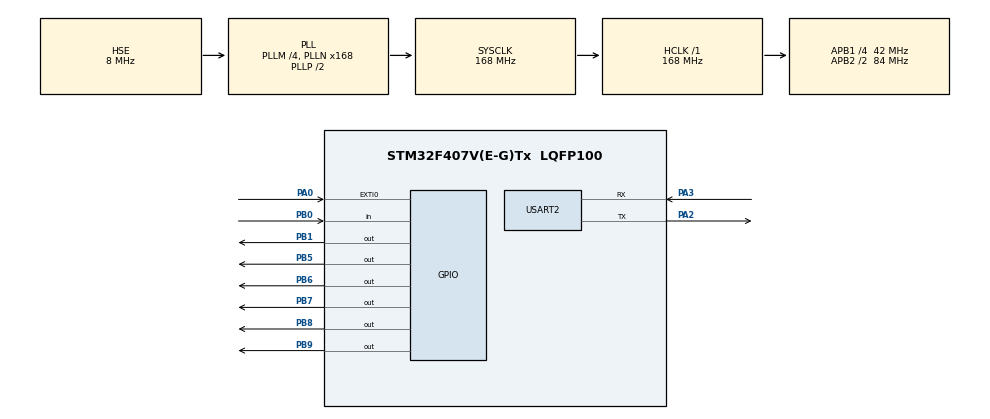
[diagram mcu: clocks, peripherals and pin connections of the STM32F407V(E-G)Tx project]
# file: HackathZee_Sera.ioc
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Mcu.Family=STM32F4
Mcu.Name=STM32F407V(E-G)Tx
Mcu.Package=LQFP100
NVIC.EXTI0_IRQn=true\:0\:0\:false\:false\:true\:true\:true\:true
NVIC.PriorityGroup=NVIC_PRIORITYGROUP_4
PA0-WKUP.GPIO_ModeDefaultEXTI=GPIO_MODE_IT_RISING
PA0-WKUP.GPIO_PuPd=GPIO_PULLUP
PA0-WKUP.Signal=GPXTI0
PA13.Mode=Serial_Wire
PA13.Signal=SYS_JTMS-SWDIO
PA14.Mode=Serial_Wire
PA14.Signal=SYS_JTCK-SWCLK
PA2.Mode=Asynchronous
PA2.Signal=USART2_TX
PA3.Mode=Asynchronous
PA3.Signal=USART2_RX
PB0.GPIO_PuPd=GPIO_NOPULL
PB0.Signal=GPIO_Input
PB1.Signal=GPIO_Output
PB5.Signal=GPIO_Output
PB6.Signal=GPIO_Output
PB7.Signal=GPIO_Output
PB8.Signal=GPIO_Output
PB9.Signal=GPIO_Output
PH0-OSC_IN.Mode=HSE-External-Oscillator
PH0-OSC_IN.Signal=RCC_OSC_IN
PH1-OSC_OUT.Mode=HSE-External-Oscillator
PH1-OSC_OUT.Signal=RCC_OSC_OUT
ProjectManager.HeapSize=0x200
ProjectManager.StackSize=0x400
ProjectManager.TargetToolchain=STM32CubeIDE
RCC.48MHZClocksFreq_Value=84000000
RCC.AHBFreq_Value=168000000
RCC.APB1CLKDivider=RCC_HCLK_DIV4
RCC.APB1Freq_Value=42000000
RCC.APB1TimFreq_Value=84000000
RCC.APB2CLKDivider=RCC_HCLK_DIV2
RCC.APB2Freq_Value=84000000
RCC.APB2TimFreq_Value=168000000
RCC.CortexFreq_Value=168000000
RCC.HCLKFreq_Value=168000000
RCC.HSE_VALUE=8000000
RCC.HSI_VALUE=16000000
RCC.LSE_VALUE=32768
RCC.PLLM=4
RCC.PLLN=168
RCC.PLLSourceVirtual=RCC_PLLSOURCE_HSE
RCC.SYSCLKFreq_VALUE=168000000
RCC.SYSCLKSource=RCC_SYSCLKSOURCE_PLLCLK
RCC.VCOOutputFreq_Value=336000000
USART2.VirtualMode=VM_ASYNC
board=custom

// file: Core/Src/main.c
/* USER CODE BEGIN Header */
/**
  ******************************************************************************
  * @file           : main.c
  * @brief          : Main program body
  ******************************************************************************
  * @attention
  *
  * Copyright (c) 2026 STMicroelectronics.
  * All rights reserved.
  *
  * This software is licensed under terms that can be found in the LICENSE file
  * in the root directory of this software component.
  * If no LICENSE file comes with this software, it is provided AS-IS.
  *
  ******************************************************************************
  */
/* USER CODE END Header */
#include "main.h"

/* USER CODE BEGIN Includes */
#include "secure_telemetry.h"
#include "secure_link_config.h"
#include <string.h>
#include <stdio.h>
#include <stdlib.h>
#include <math.h>
/* USER CODE END Includes */

/* USER CODE BEGIN PD */
#define MOLD_TEMP_THRESHOLD_C 24.0f
#define MOLD_HUMIDITY_THRESHOLD_PCT 80.0f
#define MOLD_TEMP_DELTA_C 2.0f
#define MOLD_HUMIDITY_DELTA_PCT 5.0f
#define FROST_TRIGGER_DELTA_C 2.0f
#define FLOW_TRIGGER_DELTA_LPM 2.0f
#define MOLD_PREDICTION_LOOKAHEAD_MS 180000U
#define FROST_PREDICTION_LOOKAHEAD_MS 180000U
#define FLOW_PREDICTION_LOOKAHEAD_MS 30000U
#define TEMP_TREND_NOISE_FLOOR_C 0.2f
#define HUMIDITY_TREND_NOISE_FLOOR_PCT 0.5f
#define FLOW_TREND_NOISE_FLOOR_LPM 0.2f
#define CLIMATE_EVENT_WINDOW_MS 60000U
#define FLOW_RELAY_ACTIVE_LEVEL GPIO_PIN_RESET
#define FROST_RELAY_ACTIVE_LEVEL GPIO_PIN_RESET
#define STEPPER_STEP_INTERVAL_MS 4U
#define DHT22_SAMPLE_INTERVAL_MS 2000U
#define FLOW_SAMPLE_INTERVAL_MS 1000U
#define TELEMETRY_SEND_INTERVAL_MS 1000U
#define ESP_RX_BUFFER_SIZE 384U

/* USER CODE END PD */

UART_HandleTypeDef huart2;

/* USER CODE BEGIN PV */
char at_command[] = "AT\r\n"; // ESP-01'e göndereceğimiz komut

char rx_buffer[20] = {0}; // ESP-01'den gelecek cevabı tutacağımız yer
volatile float g_temperature_c = 0.0f;
volatile float g_humidity_pct = 0.0f;
volatile float g_flow_l_min = 0.0f;
volatile float g_flow_total_l = 0.0f;
volatile float g_flow_frequency_hz = 0.0f;
volatile uint32_t g_flow_pulse_count = 0U;
volatile uint8_t g_dht_valid = 0U;

static uint32_t flow_last_sample_tick = 0U;
static uint32_t flow_last_sample_pulses = 0U;
static uint32_t dht_last_sample_tick = 0U;
static float climate_reference_temperature_c = 0.0f;
static float climate_reference_humidity_pct = 0.0f;
static uint32_t climate_reference_tick = 0U;
static uint8_t climate_reference_valid = 0U;
static float frost_reference_temperature_c = 0.0f;
static uint32_t frost_reference_tick = 0U;
static uint8_t frost_reference_valid = 0U;
static float flow_reference_l_min = 0.0f;
static uint8_t flow_reference_valid = 0U;
static uint32_t telemetry_last_send_tick = 0U;
static uint8_t esp_tcp_connected = 0U;
static char esp_rx_line[ESP_RX_BUFFER_SIZE] = {0};
static uint8_t temperature_stepper_active = 0U;
static uint8_t flow_relay_active = 0U;
static uint8_t frost_relay_active = 0U;
static uint8_t flow_risk_predicted_state = 0U;
static uint8_t stepper_sequence_index = 0U;
static uint32_t stepper_last_step_tick = 0U;
static float last_temperature_sample_c = 0.0f;
static float last_humidity_sample_pct = 0.0f;
static uint32_t last_dht_trend_tick = 0U;
static uint8_t dht_trend_valid = 0U;
static float last_flow_sample_l_min = 0.0f;
static uint32_t last_flow_trend_tick = 0U;
static uint8_t flow_trend_valid = 0U;
/* USER CODE END PV */

void SystemClock_Config(void);
static void MX_GPIO_Init(void);
static void MX_USART2_UART_Init(void);
/* USER CODE BEGIN PFP */
static void Sensors_Init(void);
static void Sensors_Service(void);
static void ServiceDelay(uint32_t delay_ms);
static void DWT_Delay_Init(void);
static void DelayUs(uint32_t delay_us);
static void DHT22_SetPinOutput(void);
static void DHT22_SetPinInput(void);
static uint8_t DHT22_WaitForState(GPIO_PinState state, uint32_t timeout_us);
static uint8_t DHT22_Read(float *temperature_c, float *humidity_pct);
static void DHT22_Service(void);
static void FlowSensor_Service(void);
static void Stepper_Init(void);
static void Stepper_Service(void);
static void Stepper_Start(void);
static void Stepper_Stop(void);
static void Relay_Init(void);
static void Relay_Service(void);
static void Relay_Set(uint8_t enabled);
static void FrostRelay_Set(uint8_t enabled);
static void Telemetry_Service(void);
static void ESP_FlushRx(void);
static uint8_t ESP_WaitForResponse(const char *expected_ok, const char *expected_alt_ok, const char *expected_fail, uint32_t timeout_ms);
static uint8_t ESP_SendCommandAndWait(const char *command, const char *expected_ok, const char *expected_alt_ok, const char *expected_fail, uint32_t timeout_ms);
static uint8_t ESP_InitModule(void);
static uint8_t ESP_EnsureTcpConnected(void);
static uint8_t ESP_SendPayload(const char *payload);
static void ESP_RecoverLink(void);
static void BuildSensorPayload(char *buffer, size_t buffer_len);
static uint8_t PredictMoldRisk(
    float temperature_c,
    float humidity_pct,
    uint32_t now,
    uint32_t elapsed_ms);
static uint8_t PredictFrostRisk(
    float temperature_c,
    uint32_t now,
    uint32_t elapsed_ms);
static uint8_t PredictFlowRisk(
    float flow_l_min,
    uint32_t elapsed_ms);

/* USER CODE END PFP */

/* USER CODE BEGIN 0 */
static const uint8_t stepper_sequence[4][4] = {
    {1U, 0U, 1U, 0U},
    {0U, 1U, 1U, 0U},
    {0U, 1U, 0U, 1U},
    {1U, 0U, 0U, 1U}
};
static void Sensors_Init(void)
{
  DWT_Delay_Init();
  DHT22_SetPinInput();
  Stepper_Init();
  Relay_Init();
  flow_last_sample_tick = HAL_GetTick();
  dht_last_sample_tick = HAL_GetTick();
  telemetry_last_send_tick = HAL_GetTick();
}

static void Sensors_Service(void)
{
  Stepper_Service();
  FlowSensor_Service();
  Relay_Service();
  DHT22_Service();
}

static void Stepper_Init(void)
{
  Stepper_Stop();
  stepper_last_step_tick = HAL_GetTick();
}

static void Stepper_Service(void)
{
  uint32_t now = HAL_GetTick();

  if (temperature_stepper_active == 0U)
  {
    return;
  }

  if ((now - stepper_last_step_tick) < STEPPER_STEP_INTERVAL_MS)
  {
    return;
  }

  stepper_sequence_index = (uint8_t)((stepper_sequence_index + 1U) % 4U);
  stepper_last_step_tick = now;

  HAL_GPIO_WritePin(STEPPER_IN1_GPIO_Port, STEPPER_IN1_Pin, (GPIO_PinState)stepper_sequence[stepper_sequence_index][0]);
  HAL_GPIO_WritePin(STEPPER_IN2_GPIO_Port, STEPPER_IN2_Pin, (GPIO_PinState)stepper_sequence[stepper_sequence_index][1]);
  HAL_GPIO_WritePin(STEPPER_IN3_GPIO_Port, STEPPER_IN3_Pin, (GPIO_PinState)stepper_sequence[stepper_sequence_index][2]);
  HAL_GPIO_WritePin(STEPPER_IN4_GPIO_Port, STEPPER_IN4_Pin, (GPIO_PinState)stepper_sequence[stepper_sequence_index][3]);
}

static void Stepper_Start(void)
{
  temperature_stepper_active = 1U;
  stepper_sequence_index = 0U;
  stepper_last_step_tick = HAL_GetTick();

  HAL_GPIO_WritePin(STEPPER_IN1_GPIO_Port, STEPPER_IN1_Pin, (GPIO_PinState)stepper_sequence[0][0]);
  HAL_GPIO_WritePin(STEPPER_IN2_GPIO_Port, STEPPER_IN2_Pin, (GPIO_PinState)stepper_sequence[0][1]);
  HAL_GPIO_WritePin(STEPPER_IN3_GPIO_Port, STEPPER_IN3_Pin, (GPIO_PinState)stepper_sequence[0][2]);
  HAL_GPIO_WritePin(STEPPER_IN4_GPIO_Port, STEPPER_IN4_Pin, (GPIO_PinState)stepper_sequence[0][3]);
}

static void Stepper_Stop(void)
{
  temperature_stepper_active = 0U;
  HAL_GPIO_WritePin(GPIOB, STEPPER_IN1_Pin | STEPPER_IN2_Pin | STEPPER_IN3_Pin | STEPPER_IN4_Pin, GPIO_PIN_RESET);
}

static void Relay_Set(uint8_t enabled)
{
  GPIO_PinState pin_state = GPIO_PIN_RESET;

  flow_relay_active = enabled;

  if (enabled != 0U)
  {
    pin_state = FLOW_RELAY_ACTIVE_LEVEL;
  }
  else
  {
    pin_state = (FLOW_RELAY_ACTIVE_LEVEL == GPIO_PIN_SET) ? GPIO_PIN_RESET : GPIO_PIN_SET;
  }

  HAL_GPIO_WritePin(FLOW_RELAY_GPIO_Port, FLOW_RELAY_Pin, pin_state);
}

static void Relay_Init(void)
{
  Relay_Set(0U);
  FrostRelay_Set(0U);
}

static void Relay_Service(void)
{
  if (flow_reference_valid == 0U)
  {
    return;
  }

  if ((g_flow_l_min >= (flow_reference_l_min + FLOW_TRIGGER_DELTA_LPM)) ||
      (flow_risk_predicted_state != 0U))
  {
    Relay_Set(1U);
  }
  else
  {
    Relay_Set(0U);
  }
}

static void FrostRelay_Set(uint8_t enabled)
{
  GPIO_PinState pin_state = GPIO_PIN_RESET;

  frost_relay_active = enabled;

  if (enabled != 0U)
  {
    pin_state = FROST_RELAY_ACTIVE_LEVEL;
  }
  else
  {
    pin_state = (FROST_RELAY_ACTIVE_LEVEL == GPIO_PIN_SET) ? GPIO_PIN_RESET : GPIO_PIN_SET;
  }

  HAL_GPIO_WritePin(FROST_RELAY_GPIO_Port, FROST_RELAY_Pin, pin_state);
}

static uint8_t PredictMoldRisk(
    float temperature_c,
    float humidity_pct,
    uint32_t now,
    uint32_t elapsed_ms)
{
  float temp_rate_c_per_ms = 0.0f;
  float humidity_rate_pct_per_ms = 0.0f;
  float predicted_temperature_c = temperature_c;
  float predicted_humidity_pct = humidity_pct;

  if ((dht_trend_valid == 0U) || (elapsed_ms == 0U) || (climate_reference_valid == 0U))
  {
    return 0U;
  }

  temp_rate_c_per_ms = (temperature_c - last_temperature_sample_c) / (float)elapsed_ms;
  humidity_rate_pct_per_ms = (humidity_pct - last_humidity_sample_pct) / (float)elapsed_ms;

  if ((temp_rate_c_per_ms <= 0.0f) && (humidity_rate_pct_per_ms <= 0.0f))
  {
    return 0U;
  }

  if ((fabsf(temperature_c - last_temperature_sample_c) < TEMP_TREND_NOISE_FLOOR_C) &&
      (fabsf(humidity_pct - last_humidity_sample_pct) < HUMIDITY_TREND_NOISE_FLOOR_PCT))
  {
    return 0U;
  }

  predicted_temperature_c += temp_rate_c_per_ms * (float)MOLD_PREDICTION_LOOKAHEAD_MS;
  predicted_humidity_pct += humidity_rate_pct_per_ms * (float)MOLD_PREDICTION_LOOKAHEAD_MS;

  return (uint8_t)(
      ((now - climate_reference_tick) <= CLIMATE_EVENT_WINDOW_MS) &&
      (predicted_temperature_c >= MOLD_TEMP_THRESHOLD_C) &&
      (predicted_humidity_pct >= MOLD_HUMIDITY_THRESHOLD_PCT) &&
      ((predicted_temperature_c - climate_reference_temperature_c) >= MOLD_TEMP_DELTA_C) &&
      ((predicted_humidity_pct - climate_reference_humidity_pct) >= MOLD_HUMIDITY_DELTA_PCT));
}

static uint8_t PredictFrostRisk(
    float temperature_c,
    uint32_t now,
    uint32_t elapsed_ms)
{
  float temp_rate_c_per_ms = 0.0f;
  float predicted_temperature_c = temperature_c;

  if ((dht_trend_valid == 0U) || (elapsed_ms == 0U) || (frost_reference_valid == 0U))
  {
    return 0U;
  }

  temp_rate_c_per_ms = (temperature_c - last_temperature_sample_c) / (float)elapsed_ms;
  if (temp_rate_c_per_ms >= 0.0f)
  {
    return 0U;
  }

  if (fabsf(temperature_c - last_temperature_sample_c) < TEMP_TREND_NOISE_FLOOR_C)
  {
    return 0U;
  }

  predicted_temperature_c += temp_rate_c_per_ms * (float)FROST_PREDICTION_LOOKAHEAD_MS;

  return (uint8_t)(
      ((now - frost_reference_tick) <= CLIMATE_EVENT_WINDOW_MS) &&
      (predicted_temperature_c <= (frost_reference_temperature_c - FROST_TRIGGER_DELTA_C)));
}

static uint8_t PredictFlowRisk(
    float flow_l_min,
    uint32_t elapsed_ms)
{
  float flow_rate_lpm_per_ms = 0.0f;
  float predicted_flow_l_min = flow_l_min;

  if ((flow_trend_valid == 0U) || (elapsed_ms == 0U) || (flow_reference_valid == 0U))
  {
    return 0U;
  }

  flow_rate_lpm_per_ms = (flow_l_min - last_flow_sample_l_min) / (float)elapsed_ms;
  if (flow_rate_lpm_per_ms <= 0.0f)
  {
    return 0U;
  }

  if (fabsf(flow_l_min - last_flow_sample_l_min) < FLOW_TREND_NOISE_FLOOR_LPM)
  {
    return 0U;
  }

  predicted_flow_l_min += flow_rate_lpm_per_ms * (float)FLOW_PREDICTION_LOOKAHEAD_MS;
  return (uint8_t)(predicted_flow_l_min >= (flow_reference_l_min + FLOW_TRIGGER_DELTA_LPM));
}

static void ESP_FlushRx(void)
{
  uint8_t byte = 0U;

  while (HAL_UART_Receive(&huart2, &byte, 1U, 2U) == HAL_OK)
  {
  }
}

static uint8_t ESP_WaitForResponse(const char *expected_ok, const char *expected_alt_ok, const char *expected_fail, uint32_t timeout_ms)
{
  uint8_t byte = 0U;
  uint32_t start_tick = HAL_GetTick();
  size_t used = 0U;

  esp_rx_line[0] = '\0';

  while ((HAL_GetTick() - start_tick) < timeout_ms)
  {
    if (HAL_UART_Receive(&huart2, &byte, 1U, 1U) == HAL_OK)
    {
      if (used < (ESP_RX_BUFFER_SIZE - 1U))
      {
        esp_rx_line[used++] = (char)byte;
      }
      else
      {
        memmove(esp_rx_line, esp_rx_line + 1, ESP_RX_BUFFER_SIZE - 2U);
        esp_rx_line[ESP_RX_BUFFER_SIZE - 2U] = (char)byte;
        used = ESP_RX_BUFFER_SIZE - 1U;
      }

      esp_rx_line[used] = '\0';

      if ((expected_ok != NULL) && (strstr(esp_rx_line, expected_ok) != NULL))
      {
        return 1U;
      }

      if ((expected_alt_ok != NULL) && (strstr(esp_rx_line, expected_alt_ok) != NULL))
      {
        return 1U;
      }

      if ((expected_fail != NULL) && (strstr(esp_rx_line, expected_fail) != NULL))
      {
        return 0U;
      }

      if ((strstr(esp_rx_line, "busy") != NULL) ||
          (strstr(esp_rx_line, "SEND FAIL") != NULL) ||
          (strstr(esp_rx_line, "link is not valid") != NULL))
      {
        return 0U;
      }
    }

    Sensors_Service();
  }

  return 0U;
}

static uint8_t ESP_SendCommandAndWait(const char *command, const char *expected_ok, const char *expected_alt_ok, const char *expected_fail, uint32_t timeout_ms)
{
  ESP_FlushRx();

  if (HAL_UART_Transmit(&huart2, (uint8_t *)command, strlen(command), 1000U) != HAL_OK)
  {
    return 0U;
  }

  return ESP_WaitForResponse(expected_ok, expected_alt_ok, expected_fail, timeout_ms);
}

static uint8_t ESP_InitModule(void)
{
  uint8_t attempt = 0U;

  for (attempt = 0U; attempt < 5U; attempt++)
  {
    if (ESP_SendCommandAndWait("AT\r\n", "OK", NULL, "ERROR", 600U) != 0U)
    {
      break;
    }

    ServiceDelay(100U);
  }

  if (attempt == 5U)
  {
    return 0U;
  }

  if (ESP_SendCommandAndWait("ATE0\r\n", "OK", NULL, "ERROR", 600U) == 0U)
  {
    return 0U;
  }

  if (ESP_SendCommandAndWait("AT+CWMODE=1\r\n", "OK", "no change", "ERROR", 600U) == 0U)
  {
    return 0U;
  }

  if (ESP_SendCommandAndWait(
          "AT+CWJAP=\"" SECURE_LINK_WIFI_SSID "\",\"" SECURE_LINK_WIFI_PASSWORD "\"\r\n",
          "WIFI GOT IP",
          "OK",
          "FAIL",
          12000U) == 0U)
  {
    return 0U;
  }

  if (ESP_SendCommandAndWait("AT+CIPMUX=0\r\n", "OK", "no change", "ERROR", 600U) == 0U)
  {
    return 0U;
  }

  return 1U;
}

static uint8_t ESP_EnsureTcpConnected(void)
{
  if (esp_tcp_connected != 0U)
  {
    return 1U;
  }

  if (ESP_SendCommandAndWait("AT+CIPSTART=\"TCP\",\"192.168.4.1\",80\r\n",
                             "CONNECT",
                             "ALREADY CONNECTED",
                             "ERROR",
                             2500U) == 0U)
  {
    return 0U;
  }

  esp_tcp_connected = 1U;
  return 1U;
}

static void ESP_RecoverLink(void)
{
  esp_tcp_connected = 0U;
  (void)ESP_SendCommandAndWait("AT+CIPCLOSE\r\n", "OK", "ERROR", "FAIL", 500U);

  if (ESP_EnsureTcpConnected() != 0U)
  {
    return;
  }

  if (ESP_InitModule() != 0U)
  {
    (void)ESP_EnsureTcpConnected();
  }
}

static uint8_t ESP_SendPayload(const char *payload)
{
  char cmd_send[32];
  size_t payload_len = strlen(payload);

  if (ESP_EnsureTcpConnected() == 0U)
  {
    return 0U;
  }

  snprintf(cmd_send, sizeof(cmd_send), "AT+CIPSEND=%lu\r\n", (unsigned long)payload_len);

  if (ESP_SendCommandAndWait(cmd_send, ">", NULL, "ERROR", 1000U) == 0U)
  {
    esp_tcp_connected = 0U;
    return 0U;
  }

  ESP_FlushRx();

  if (HAL_UART_Transmit(&huart2, (uint8_t *)payload, payload_len, 1000U) != HAL_OK)
  {
    esp_tcp_connected = 0U;
    return 0U;
  }

  if (ESP_WaitForResponse("SEND OK", NULL, "ERROR", 1200U) == 0U)
  {
    esp_tcp_connected = 0U;
    return 0U;
  }

  if (strstr(esp_rx_line, "CLOSED") != NULL)
  {
    esp_tcp_connected = 0U;
  }

  return 1U;
}

static void Telemetry_Service(void)
{
  char data[100];
  char secure_packet[SECURE_TELEMETRY_MAX_PACKET_LEN];
  uint32_t now = HAL_GetTick();

  if (climate_reference_valid == 0U)
  {
    return;
  }

  if ((now - telemetry_last_send_tick) < TELEMETRY_SEND_INTERVAL_MS)
  {
    return;
  }

  telemetry_last_send_tick = now;

  BuildSensorPayload(data, sizeof(data));
  if (SecureTelemetry_Encode(
          (const uint8_t *)data,
          strlen(data),
          SECURE_LINK_PAIR_SECRET,
          secure_packet,
          sizeof(secure_packet)) == 0U)
  {
    return;
  }

  if (ESP_SendPayload(secure_packet) == 0U)
  {
    ESP_RecoverLink();
  }
}

static void ServiceDelay(uint32_t delay_ms)
{
  uint32_t start_tick = HAL_GetTick();

  while ((HAL_GetTick() - start_tick) < delay_ms)
  {
    uint32_t remaining = delay_ms - (HAL_GetTick() - start_tick);
    uint32_t chunk = (remaining > 10U) ? 10U : remaining;

    Sensors_Service();

    if (chunk > 0U)
    {
      HAL_Delay(chunk);
    }
  }
}

static void DWT_Delay_Init(void)
{
  CoreDebug->DEMCR |= CoreDebug_DEMCR_TRCENA_Msk;
  DWT->CYCCNT = 0U;
  DWT->CTRL |= DWT_CTRL_CYCCNTENA_Msk;
}

static void DelayUs(uint32_t delay_us)
{
  uint32_t start = DWT->CYCCNT;
  uint32_t cycles = delay_us * (SystemCoreClock / 1000000U);

  while ((DWT->CYCCNT - start) < cycles)
  {
  }
}

static void DHT22_SetPinOutput(void)
{
  GPIO_InitTypeDef GPIO_InitStruct = {0};

  GPIO_InitStruct.Pin = DHT22_DATA_Pin;
  GPIO_InitStruct.Mode = GPIO_MODE_OUTPUT_PP;
  GPIO_InitStruct.Pull = GPIO_NOPULL;
  GPIO_InitStruct.Speed = GPIO_SPEED_FREQ_LOW;
  HAL_GPIO_Init(DHT22_DATA_GPIO_Port, &GPIO_InitStruct);
}

static void DHT22_SetPinInput(void)
{
  GPIO_InitTypeDef GPIO_InitStruct = {0};

  GPIO_InitStruct.Pin = DHT22_DATA_Pin;
  GPIO_InitStruct.Mode = GPIO_MODE_INPUT;
  GPIO_InitStruct.Pull = GPIO_NOPULL;
  HAL_GPIO_Init(DHT22_DATA_GPIO_Port, &GPIO_InitStruct);
}

static uint8_t DHT22_WaitForState(GPIO_PinState state, uint32_t timeout_us)
{
  uint32_t start = DWT->CYCCNT;
  uint32_t timeout_cycles = timeout_us * (SystemCoreClock / 1000000U);

  while ((DWT->CYCCNT - start) < timeout_cycles)
  {
    if (HAL_GPIO_ReadPin(DHT22_DATA_GPIO_Port, DHT22_DATA_Pin) == state)
    {
      return 1U;
    }
  }

  return 0U;
}

static uint8_t DHT22_Read(float *temperature_c, float *humidity_pct)
{
  uint8_t data[5] = {0};
  uint8_t i = 0U;
  uint16_t raw_humidity = 0U;
  uint16_t raw_temperature = 0U;

  DHT22_SetPinOutput();
  HAL_GPIO_WritePin(DHT22_DATA_GPIO_Port, DHT22_DATA_Pin, GPIO_PIN_RESET);
  DelayUs(1200U);

  DHT22_SetPinInput();
  DelayUs(30U);

  if (DHT22_WaitForState(GPIO_PIN_RESET, 100U) == 0U)
  {
    return 0U;
  }

  if (DHT22_WaitForState(GPIO_PIN_SET, 100U) == 0U)
  {
    return 0U;
  }

  if (DHT22_WaitForState(GPIO_PIN_RESET, 100U) == 0U)
  {
    return 0U;
  }

  for (i = 0U; i < 40U; i++)
  {
    if (DHT22_WaitForState(GPIO_PIN_SET, 100U) == 0U)
    {
      return 0U;
    }

    DelayUs(40U);
    data[i / 8U] <<= 1U;

    if (HAL_GPIO_ReadPin(DHT22_DATA_GPIO_Port, DHT22_DATA_Pin) == GPIO_PIN_SET)
    {
      data[i / 8U] |= 1U;
    }

    if ((i < 39U) && (DHT22_WaitForState(GPIO_PIN_RESET, 100U) == 0U))
    {
      return 0U;
    }
  }

  if (((uint8_t)(data[0] + data[1] + data[2] + data[3])) != data[4])
  {
    return 0U;
  }

  raw_humidity = ((uint16_t)data[0] << 8) | data[1];
  raw_temperature = ((uint16_t)data[2] << 8) | data[3];

  *humidity_pct = raw_humidity / 10.0f;

  if ((raw_temperature & 0x8000U) != 0U)
  {
    raw_temperature &= 0x7FFFU;
    *temperature_c = -(raw_temperature / 10.0f);
  }
  else
  {
    *temperature_c = raw_temperature / 10.0f;
  }

  return 1U;
}

static void DHT22_Service(void)
{
  float temperature_c = 0.0f;
  float humidity_pct = 0.0f;
  uint8_t mold_risk = 0U;
  uint8_t frost_risk = 0U;
  uint8_t mold_risk_predicted = 0U;
  uint8_t frost_risk_predicted = 0U;
  uint32_t trend_elapsed_ms = 0U;
  uint32_t now = HAL_GetTick();

  if ((now - dht_last_sample_tick) < DHT22_SAMPLE_INTERVAL_MS)
  {
    return;
  }

  dht_last_sample_tick = now;

  if (DHT22_Read(&temperature_c, &humidity_pct) != 0U)
  {
    if ((dht_trend_valid != 0U) && (now > last_dht_trend_tick))
    {
      trend_elapsed_ms = now - last_dht_trend_tick;
    }

    g_temperature_c = temperature_c;
    g_humidity_pct = humidity_pct;
    g_dht_valid = 1U;

    if (climate_reference_valid == 0U)
    {
      climate_reference_temperature_c = temperature_c;
      climate_reference_humidity_pct = humidity_pct;
      climate_reference_tick = now;
      climate_reference_valid = 1U;
      frost_reference_temperature_c = temperature_c;
      frost_reference_tick = now;
      frost_reference_valid = 1U;
      telemetry_last_send_tick = now - TELEMETRY_SEND_INTERVAL_MS;
    }

    if (((now - climate_reference_tick) > CLIMATE_EVENT_WINDOW_MS) ||
        (temperature_c < climate_reference_temperature_c) ||
        (humidity_pct < climate_reference_humidity_pct))
    {
      climate_reference_temperature_c = temperature_c;
      climate_reference_humidity_pct = humidity_pct;
      climate_reference_tick = now;
    }

    if ((frost_reference_valid == 0U) ||
        ((now - frost_reference_tick) > CLIMATE_EVENT_WINDOW_MS) ||
        (temperature_c > frost_reference_temperature_c))
    {
      frost_reference_temperature_c = temperature_c;
      frost_reference_tick = now;
      frost_reference_valid = 1U;
    }

    mold_risk = (uint8_t)(
        (temperature_c >= MOLD_TEMP_THRESHOLD_C) &&
        (humidity_pct >= MOLD_HUMIDITY_THRESHOLD_PCT) &&
        ((now - climate_reference_tick) <= CLIMATE_EVENT_WINDOW_MS) &&
        ((temperature_c - climate_reference_temperature_c) >= MOLD_TEMP_DELTA_C) &&
        ((humidity_pct - climate_reference_humidity_pct) >= MOLD_HUMIDITY_DELTA_PCT));

    frost_risk = (uint8_t)(
        (frost_reference_valid != 0U) &&
        ((now - frost_reference_tick) <= CLIMATE_EVENT_WINDOW_MS) &&
        (temperature_c <= (frost_reference_temperature_c - FROST_TRIGGER_DELTA_C)));

    mold_risk_predicted = PredictMoldRisk(temperature_c, humidity_pct, now, trend_elapsed_ms);
    frost_risk_predicted = PredictFrostRisk(temperature_c, now, trend_elapsed_ms);

    if ((mold_risk != 0U) || (mold_risk_predicted != 0U))
    {
      Stepper_Start();
    }
    else
    {
      Stepper_Stop();
    }

    FrostRelay_Set((uint8_t)((frost_risk != 0U) || (frost_risk_predicted != 0U)));

    last_temperature_sample_c = temperature_c;
    last_humidity_sample_pct = humidity_pct;
    last_dht_trend_tick = now;
    dht_trend_valid = 1U;
  }
  else
  {
    g_dht_valid = 0U;
    Stepper_Stop();
    FrostRelay_Set(0U);
    dht_trend_valid = 0U;
  }
}

static void FlowSensor_Service(void)
{
  uint32_t now = HAL_GetTick();
  uint32_t elapsed_ms = now - flow_last_sample_tick;
  uint32_t pulse_delta = 0U;
  float frequency_hz = 0.0f;
  float flow_l_min = 0.0f;

  if (elapsed_ms < FLOW_SAMPLE_INTERVAL_MS)
  {
    return;
  }

  pulse_delta = g_flow_pulse_count - flow_last_sample_pulses;
  frequency_hz = (pulse_delta * 1000.0f) / elapsed_ms;

  if (pulse_delta == 0U)
  {
    flow_l_min = 0.0f;
  }
  else
  {
    flow_l_min = (frequency_hz + 3.0f) / 23.0f;
  }

  g_flow_frequency_hz = frequency_hz;
  g_flow_l_min = flow_l_min;
  g_flow_total_l = g_flow_pulse_count / 1380.0f;

  if (flow_reference_valid == 0U)
  {
    flow_reference_l_min = flow_l_min;
    flow_reference_valid = 1U;
  }

  if ((flow_trend_valid != 0U) && (now > last_flow_trend_tick))
  {
    flow_risk_predicted_state = PredictFlowRisk(flow_l_min, now - last_flow_trend_tick);
  }
  else
  {
    flow_risk_predicted_state = 0U;
  }

  last_flow_sample_l_min = flow_l_min;
  last_flow_trend_tick = now;
  flow_trend_valid = 1U;

  flow_last_sample_tick = now;
  flow_last_sample_pulses = g_flow_pulse_count;
}

static void BuildSensorPayload(char *buffer, size_t buffer_len)
{
  int32_t temperature_x10 = (int32_t)(g_temperature_c * 10.0f);
  uint32_t temperature_fraction = (uint32_t)abs((int)(temperature_x10 % 10));
  uint32_t humidity_x10 = (uint32_t)(g_humidity_pct * 10.0f);
  uint32_t flow_x100 = (uint32_t)(g_flow_l_min * 100.0f);

  snprintf(
      buffer,
      buffer_len,
      "Sicaklik: %ld.%luC, Nem: %lu.%lu%%, Debi: %lu.%02luL/dk, Fan: %u, Don: %u, Boru: %u\r\n",
      (long)(temperature_x10 / 10),
      (unsigned long)temperature_fraction,
      (unsigned long)(humidity_x10 / 10U),
      (unsigned long)(humidity_x10 % 10U),
      (unsigned long)(flow_x100 / 100U),
      (unsigned long)(flow_x100 % 100U),
      (unsigned int)(temperature_stepper_active != 0U),
      (unsigned int)(frost_relay_active != 0U),
      (unsigned int)(flow_relay_active != 0U));
}

/* USER CODE END 0 */

int main(void)
{

  /* MCU Configuration--------------------------------------------------------*/

  /* Reset of all peripherals, Initializes the Flash interface and the Systick. */
  HAL_Init();

  /* Configure the system clock */
  SystemClock_Config();

  /* Initialize all configured peripherals */
  MX_GPIO_Init();
  MX_USART2_UART_Init();
  /* USER CODE BEGIN 2 */
  Sensors_Init();
  ServiceDelay(500U);
  (void)ESP_InitModule();
  (void)ESP_EnsureTcpConnected();
  /*
  // 0. AŞAMA: ESP'Yİ FABRİKA AYARLARINA DÖNDÜR VE RESETLE
    char cmd_rst[] = "AT+RESTORE\r\n";
    HAL_UART_Transmit(&huart2, (uint8_t*)cmd_rst, strlen(cmd_rst), 1000);
    ServiceDelay(3000); // Fabrika ayarlarına dönüp yeniden başlaması için 3 saniye ver

    // 1. AŞAMA: Gönderici ESP'yi "Müşteri" (Station) moduna al
    char cmd_mode[] = "AT+CWMODE=1\r\n";
    HAL_UART_Transmit(&huart2, (uint8_t*)cmd_mode, strlen(cmd_mode), 1000);
    ServiceDelay(1000);

    // 2. AŞAMA: Wİ-Fİ AĞINA BAĞLANMA
    char cmd_wifi[] = "AT+CWJAP=\"" SECURE_LINK_WIFI_SSID "\",\"" SECURE_LINK_WIFI_PASSWORD "\"\r\n";
    HAL_UART_Transmit(&huart2, (uint8_t*)cmd_wifi, strlen(cmd_wifi), 1000);
    ServiceDelay(8000); // Ağa katılması için 8 saniye bekle
  */
  /* USER CODE END 2 */

  /* Infinite loop */
  /* USER CODE BEGIN WHILE */
  while (1)
  {
    Sensors_Service();
    Telemetry_Service();
    /*
	  Sensors_Service();
	  	  // 1. ADIM: Doğru IP adresine (192.168.4.1) bağlan
	  	  char cmd_connect[] = "AT+CIPSTART=\"TCP\",\"192.168.4.1\",80\r\n";
	  	  HAL_UART_Transmit(&huart2, (uint8_t*)cmd_connect, strlen(cmd_connect), 1000);
	  	  ServiceDelay(2000);

	  	  // 2. ADIM: Gönderilecek Ham Veriyi Hazırla (Plaintext)
	  	  char data[100];
	  	  BuildSensorPayload(data, sizeof(data));

	  	  // --- SİBER GÜVENLİK ADIMI EKLENİYOR ---
	  	  char encrypted_data[200]; // HEX formatı boyutu 2 katına çıkarır, o yüzden 200 yaptık.
	  	  Encrypt_To_Hex(data, encrypted_data, secret_key); // Şifrele!
	  	  int veri_uzunlugu = strlen(encrypted_data); // Artık uzunluk şifreli metnin uzunluğu
	  	  // --------------------------------------

	  	  // 3. ADIM: Veri boyutunu ESP'ye söyle
	  	  char cmd_send[30];
	  	  sprintf(cmd_send, "AT+CIPSEND=%d\r\n", veri_uzunlugu);
	  	  HAL_UART_Transmit(&huart2, (uint8_t*)cmd_send, strlen(cmd_send), 1000);
	  	  ServiceDelay(500);

	  	  // 4. ADIM: Asıl ŞİFRELİ veriyi yolla
	  	  HAL_UART_Transmit(&huart2, (uint8_t*)encrypted_data, veri_uzunlugu, 1000);
	  	  ServiceDelay(500);

	  	  // 5. ADIM: Bağlantıyı kapat ki şişmesin
	  	  char cmd_close[] = "AT+CIPCLOSE\r\n";
	  	  HAL_UART_Transmit(&huart2, (uint8_t*)cmd_close, strlen(cmd_close), 1000);

	  	  // 6. ADIM: 3 saniye dinlen ve tekrarla
	  	  ServiceDelay(3000);
    */
    /* USER CODE END WHILE */

  }
}

void SystemClock_Config(void)
{
  RCC_OscInitTypeDef RCC_OscInitStruct = {0};
  RCC_ClkInitTypeDef RCC_ClkInitStruct = {0};

  /** Configure the main internal regulator output voltage
  */
  __HAL_RCC_PWR_CLK_ENABLE();
  __HAL_PWR_VOLTAGESCALING_CONFIG(PWR_REGULATOR_VOLTAGE_SCALE1);

  /** Initializes the RCC Oscillators according to the specified parameters
  * in the RCC_OscInitTypeDef structure.
  */
  RCC_OscInitStruct.OscillatorType = RCC_OSCILLATORTYPE_HSE;
  RCC_OscInitStruct.HSEState = RCC_HSE_ON;
  RCC_OscInitStruct.PLL.PLLState = RCC_PLL_ON;
  RCC_OscInitStruct.PLL.PLLSource = RCC_PLLSOURCE_HSE;
  RCC_OscInitStruct.PLL.PLLM = 4;
  RCC_OscInitStruct.PLL.PLLN = 168;
  RCC_OscInitStruct.PLL.PLLP = RCC_PLLP_DIV2;
  RCC_OscInitStruct.PLL.PLLQ = 4;
  if (HAL_RCC_OscConfig(&RCC_OscInitStruct) != HAL_OK)
  {
    Error_Handler();
  }

  /** Initializes the CPU, AHB and APB buses clocks
  */
  RCC_ClkInitStruct.ClockType = RCC_CLOCKTYPE_HCLK|RCC_CLOCKTYPE_SYSCLK
                              |RCC_CLOCKTYPE_PCLK1|RCC_CLOCKTYPE_PCLK2;
  RCC_ClkInitStruct.SYSCLKSource = RCC_SYSCLKSOURCE_PLLCLK;
  RCC_ClkInitStruct.AHBCLKDivider = RCC_SYSCLK_DIV1;
  RCC_ClkInitStruct.APB1CLKDivider = RCC_HCLK_DIV4;
  RCC_ClkInitStruct.APB2CLKDivider = RCC_HCLK_DIV2;

  if (HAL_RCC_ClockConfig(&RCC_ClkInitStruct, FLASH_LATENCY_5) != HAL_OK)
  {
    Error_Handler();
  }
}

static void MX_USART2_UART_Init(void)
{

  huart2.Instance = USART2;
  huart2.Init.BaudRate = 115200;
  huart2.Init.WordLength = UART_WORDLENGTH_8B;
  huart2.Init.StopBits = UART_STOPBITS_1;
  huart2.Init.Parity = UART_PARITY_NONE;
  huart2.Init.Mode = UART_MODE_TX_RX;
  huart2.Init.HwFlowCtl = UART_HWCONTROL_NONE;
  huart2.Init.OverSampling = UART_OVERSAMPLING_16;
  if (HAL_UART_Init(&huart2) != HAL_OK)
  {
    Error_Handler();
  }

}

static void MX_GPIO_Init(void)
{
  GPIO_InitTypeDef GPIO_InitStruct = {0};

  /* GPIO Ports Clock Enable */
  __HAL_RCC_GPIOH_CLK_ENABLE();
  __HAL_RCC_GPIOA_CLK_ENABLE();
  __HAL_RCC_GPIOB_CLK_ENABLE();

  HAL_GPIO_WritePin(FLOW_RELAY_GPIO_Port, FLOW_RELAY_Pin,
                    (FLOW_RELAY_ACTIVE_LEVEL == GPIO_PIN_SET) ? GPIO_PIN_RESET : GPIO_PIN_SET);
  HAL_GPIO_WritePin(FROST_RELAY_GPIO_Port, FROST_RELAY_Pin,
                    (FROST_RELAY_ACTIVE_LEVEL == GPIO_PIN_SET) ? GPIO_PIN_RESET : GPIO_PIN_SET);

  /*Configure GPIO pin Output Level */
  HAL_GPIO_WritePin(GPIOB, GPIO_PIN_6|GPIO_PIN_7|GPIO_PIN_8|GPIO_PIN_9, GPIO_PIN_RESET);

  /*Configure GPIO pin : PA0 */
  GPIO_InitStruct.Pin = GPIO_PIN_0;
  GPIO_InitStruct.Mode = GPIO_MODE_IT_RISING;
  GPIO_InitStruct.Pull = GPIO_PULLUP;
  HAL_GPIO_Init(GPIOA, &GPIO_InitStruct);

  /*Configure GPIO pin : PB0 */
  GPIO_InitStruct.Pin = GPIO_PIN_0;
  GPIO_InitStruct.Mode = GPIO_MODE_INPUT;
  GPIO_InitStruct.Pull = GPIO_NOPULL;
  HAL_GPIO_Init(GPIOB, &GPIO_InitStruct);

  /*Configure GPIO pins : PB1 PB5 PB6 PB7
                           PB8 PB9 */
  GPIO_InitStruct.Pin = GPIO_PIN_1|GPIO_PIN_5|GPIO_PIN_6|GPIO_PIN_7
                          |GPIO_PIN_8|GPIO_PIN_9;
  GPIO_InitStruct.Mode = GPIO_MODE_OUTPUT_PP;
  GPIO_InitStruct.Pull = GPIO_NOPULL;
  GPIO_InitStruct.Speed = GPIO_SPEED_FREQ_LOW;
  HAL_GPIO_Init(GPIOB, &GPIO_InitStruct);

  /* EXTI interrupt init*/
  HAL_NVIC_SetPriority(EXTI0_IRQn, 0, 0);
  HAL_NVIC_EnableIRQ(EXTI0_IRQn);

  /* USER CODE BEGIN MX_GPIO_Init_2 */
  HAL_GPIO_WritePin(FLOW_RELAY_GPIO_Port, FLOW_RELAY_Pin,
                    (FLOW_RELAY_ACTIVE_LEVEL == GPIO_PIN_SET) ? GPIO_PIN_RESET : GPIO_PIN_SET);
  HAL_GPIO_WritePin(FROST_RELAY_GPIO_Port, FROST_RELAY_Pin,
                    (FROST_RELAY_ACTIVE_LEVEL == GPIO_PIN_SET) ? GPIO_PIN_RESET : GPIO_PIN_SET);

  GPIO_InitStruct.Pin = STEPPER_IN1_Pin | STEPPER_IN2_Pin | STEPPER_IN3_Pin | STEPPER_IN4_Pin;
  GPIO_InitStruct.Mode = GPIO_MODE_OUTPUT_PP;
  GPIO_InitStruct.Pull = GPIO_NOPULL;
  GPIO_InitStruct.Speed = GPIO_SPEED_FREQ_LOW;
  HAL_GPIO_Init(GPIOB, &GPIO_InitStruct);

  HAL_GPIO_WritePin(GPIOB, STEPPER_IN1_Pin | STEPPER_IN2_Pin | STEPPER_IN3_Pin | STEPPER_IN4_Pin, GPIO_PIN_RESET);

  /* USER CODE END MX_GPIO_Init_2 */
}

/* USER CODE BEGIN 4 */
void HAL_GPIO_EXTI_Callback(uint16_t GPIO_Pin)
{
  if (GPIO_Pin == FLOW_SENSOR_Pin)
  {
    g_flow_pulse_count++;
  }
}

/* USER CODE END 4 */

void Error_Handler(void)
{
  __disable_irq();
  while (1)
  {
  }
}
